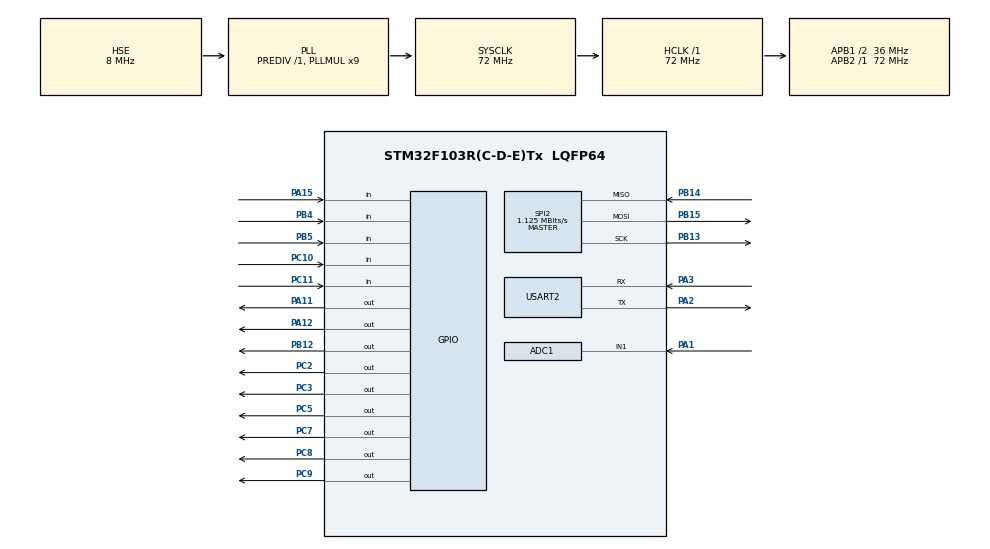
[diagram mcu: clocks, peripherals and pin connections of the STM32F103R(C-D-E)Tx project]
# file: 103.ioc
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ADC1.Channel-3\#ChannelRegularConversion=ADC_CHANNEL_1
ADC1.NbrOfConversionFlag=1
ADC1.Rank-3\#ChannelRegularConversion=1
ADC1.SamplingTime-3\#ChannelRegularConversion=ADC_SAMPLETIME_1CYCLE_5
ADC1.master=1
Mcu.Family=STM32F1
Mcu.Name=STM32F103R(C-D-E)Tx
Mcu.Package=LQFP64
NVIC.ADC1_2_IRQn=true\:3\:0\:true\:false\:true\:true\:true
NVIC.PriorityGroup=NVIC_PRIORITYGROUP_4
NVIC.TIM2_IRQn=true\:2\:0\:true\:false\:true\:true\:true
NVIC.TIM6_IRQn=true\:1\:0\:true\:false\:true\:true\:true
PA1.Signal=ADCx_IN1
PA10.Signal=USART1_RX
PA11.Signal=GPIO_Output
PA12.Signal=GPIO_Output
PA13.Mode=Serial_Wire
PA13.Signal=SYS_JTMS-SWDIO
PA14.Mode=Serial_Wire
PA14.Signal=SYS_JTCK-SWCLK
PA15.GPIO_PuPd=GPIO_PULLUP
PA15.Signal=GPIO_Input
PA2.Mode=Asynchronous
PA2.Signal=USART2_TX
PA3.Mode=Asynchronous
PA3.Signal=USART2_RX
PA9.Signal=USART1_TX
PB12.Signal=GPIO_Output
PB13.Mode=Full_Duplex_Master
PB13.Signal=SPI2_SCK
PB14.Mode=Full_Duplex_Master
PB14.Signal=SPI2_MISO
PB15.Mode=Full_Duplex_Master
PB15.Signal=SPI2_MOSI
PB4.Signal=GPIO_Input
PB5.Signal=GPIO_Input
PC10.GPIO_PuPd=GPIO_PULLUP
PC10.Signal=GPIO_Input
PC11.GPIO_PuPd=GPIO_PULLUP
PC11.Signal=GPIO_Input
PC2.Signal=GPIO_Output
PC3.Signal=GPIO_Output
PC5.Signal=GPIO_Output
PC7.Signal=GPIO_Output
PC8.Signal=GPIO_Output
PC9.Signal=GPIO_Output
PD0-OSC_IN.Mode=HSE-External-Oscillator
PD0-OSC_IN.Signal=RCC_OSC_IN
PD1-OSC_OUT.Mode=HSE-External-Oscillator
PD1-OSC_OUT.Signal=RCC_OSC_OUT
ProjectManager.HeapSize=0x200
ProjectManager.StackSize=0x400
ProjectManager.TargetToolchain=MDK-ARM V5.32
RCC.ADCPresc=RCC_ADCPCLK2_DIV6
RCC.AHBFreq_Value=72000000
RCC.APB1CLKDivider=RCC_HCLK_DIV2
RCC.APB1Freq_Value=36000000
RCC.APB1TimFreq_Value=72000000
RCC.APB2Freq_Value=72000000
RCC.APB2TimFreq_Value=72000000
RCC.HCLKFreq_Value=72000000
RCC.PLLMUL=RCC_PLL_MUL9
RCC.PLLSourceVirtual=RCC_PLLSOURCE_HSE
RCC.SYSCLKFreq_VALUE=72000000
RCC.SYSCLKSource=RCC_SYSCLKSOURCE_PLLCLK
RCC.USBFreq_Value=72000000
SH.ADCx_IN1.0=ADC1_IN1,IN1
SPI2.BaudRatePrescaler=SPI_BAUDRATEPRESCALER_32
SPI2.CalculateBaudRate=1.125 MBits/s
SPI2.Direction=SPI_DIRECTION_2LINES
SPI2.Mode=SPI_MODE_MASTER
SPI2.VirtualType=VM_MASTER
TIM2.AutoReloadPreload=TIM_AUTORELOAD_PRELOAD_ENABLE
TIM2.Period=999
TIM2.Prescaler=71
TIM6.AutoReloadPreload=TIM_AUTORELOAD_PRELOAD_ENABLE
TIM6.Period=31000
TIM6.Prescaler=719
TIM6.TIM_MasterOutputTrigger=TIM_TRGO_RESET
USART2.VirtualMode=VM_ASYNC
VP_TIM2_VS_ClockSourceINT.Mode=Internal
VP_TIM6_VS_ClockSourceINT.Mode=Enable_Timer
board=custom

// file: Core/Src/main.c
/* USER CODE BEGIN Header */
/**
  ******************************************************************************
  * @file           : main.c
  * @brief          : Main program body
  ******************************************************************************
  * @attention
  *
  * <h2><center>&copy; Copyright (c) 2021 STMicroelectronics.
  * All rights reserved.</center></h2>
  *
  * This software component is licensed by ST under BSD 3-Clause license,
  * the "License"; You may not use this file except in compliance with the
  * License. You may obtain a copy of the License at:
  *                        opensource.org/licenses/BSD-3-Clause
  *
  ******************************************************************************
  */
/* USER CODE END Header */
#include "main.h"
#include "adc.h"
#include "spi.h"
#include "tim.h"
#include "usart.h"
#include "gpio.h"

/* USER CODE BEGIN Includes */
#include <stdio.h>
#include "App_Test.h"
#include "Button.h"
#include "User_Uart.h"
#include "init.h"
#include "ppp.h"
#include "dns.h"
#include "app_debug.h"
#include "gsm.h"

#include "mqtt_client.h"
//#include "app_http.h"
/* USER CODE END Includes */

/* USER CODE BEGIN PV */
uint8_t *rebuff1;
int16_t remain1;
uint8_t *rebuff2;
int16_t remain2;
/* USER CODE END PV */

void SystemClock_Config(void);
/* USER CODE BEGIN PFP */

void Toggle()
{
	HAL_GPIO_TogglePin(GPIOC, GPIO_PIN_9);
	 //User_Uart_AsyncTransmit(USER_UART_CHANNEL_USART1, "ATV1\r\n", strlen("ATV1\r\n"));
	//printf("HelloTue");

}

static void dns_initialize(void)
{
    ip_addr_t dns_server_0 = IPADDR4_INIT_BYTES(8, 8, 8, 8);
    ip_addr_t dns_server_1 = IPADDR4_INIT_BYTES(1, 1, 1, 1);
    dns_setserver(0, &dns_server_0);
    dns_setserver(1, &dns_server_1);
    dns_init();
}

/* USER CODE END PFP */

/* USER CODE BEGIN 0 */

//static int count = 0;
int __io_putchar(int ch)
{
	HAL_UART_Transmit(&huart2, (uint8_t *)&ch, 1, 100);
	return ch;
}

/* USER CODE END 0 */

int main(void)
{

  /* MCU Configuration--------------------------------------------------------*/

  /* Reset of all peripherals, Initializes the Flash interface and the Systick. */
  HAL_Init();

  /* Configure the system clock */
  SystemClock_Config();

  /* Initialize all configured peripherals */
  MX_GPIO_Init();
  MX_SPI2_Init();
  MX_TIM2_Init();
  MX_ADC1_Init();
  MX_TIM6_Init();
  MX_USART2_UART_Init();
  /* USER CODE BEGIN 2 */
  //printf("Ao that day");
  //User_Uart_Init(&User_Uart_ConfigPtr);
 // HAL_TIM_Base_Start_IT(&htim2);
  Button btn1;
  button_init(&btn1, GPIOC, GPIO_PIN_10, BUTTON_ACTIVE_LOW, 1);
  Button_ResetEvent(1);
  Button_AddEvent(1, BUTTON_PRESSED_EVENT, Toggle);

  dns_initialize();
  lwip_init();
  gsm_init_hw();
  mqtt_client_cfg_t test_client =
  {
		  .broker_addr = "broker.hivemq.com",
		  .client_id = "Tue's LWIP Porting",
		  .password = NULL,
		  .periodic_sub_req_s = 120,
		  //.user_name = NULL,
		  .port = 1883
  };
  mqtt_client_initialize(&test_client);
  /* USER CODE END 2 */

  /* Infinite loop */
  /* USER CODE BEGIN WHILE */
  //int count = 0;
  while (1)
  {
	  //printf("Number: %d\n",count++);
	  gsm_mnr_task(NULL);
	  mqtt_client_polling_task(NULL);
	  //int count = 0;
	  //HAL_UART_Transmit(&huart2, "Hello\n", 7, 1000);
	  //printf("Count: %d\n",count++);
	  //HAL_Delay(500);
	  button_check(&btn1);
    /* USER CODE END WHILE */

  }
}

void SystemClock_Config(void)
{
  RCC_OscInitTypeDef RCC_OscInitStruct = {0};
  RCC_ClkInitTypeDef RCC_ClkInitStruct = {0};
  RCC_PeriphCLKInitTypeDef PeriphClkInit = {0};

  /** Initializes the RCC Oscillators according to the specified parameters
  * in the RCC_OscInitTypeDef structure.
  */
  RCC_OscInitStruct.OscillatorType = RCC_OSCILLATORTYPE_HSE;
  RCC_OscInitStruct.HSEState = RCC_HSE_ON;
  RCC_OscInitStruct.HSEPredivValue = RCC_HSE_PREDIV_DIV1;
  RCC_OscInitStruct.HSIState = RCC_HSI_ON;
  RCC_OscInitStruct.PLL.PLLState = RCC_PLL_ON;
  RCC_OscInitStruct.PLL.PLLSource = RCC_PLLSOURCE_HSE;
  RCC_OscInitStruct.PLL.PLLMUL = RCC_PLL_MUL9;
  if (HAL_RCC_OscConfig(&RCC_OscInitStruct) != HAL_OK)
  {
    Error_Handler();
  }
  /** Initializes the CPU, AHB and APB buses clocks
  */
  RCC_ClkInitStruct.ClockType = RCC_CLOCKTYPE_HCLK|RCC_CLOCKTYPE_SYSCLK
                              |RCC_CLOCKTYPE_PCLK1|RCC_CLOCKTYPE_PCLK2;
  RCC_ClkInitStruct.SYSCLKSource = RCC_SYSCLKSOURCE_PLLCLK;
  RCC_ClkInitStruct.AHBCLKDivider = RCC_SYSCLK_DIV1;
  RCC_ClkInitStruct.APB1CLKDivider = RCC_HCLK_DIV2;
  RCC_ClkInitStruct.APB2CLKDivider = RCC_HCLK_DIV1;

  if (HAL_RCC_ClockConfig(&RCC_ClkInitStruct, FLASH_LATENCY_2) != HAL_OK)
  {
    Error_Handler();
  }
  PeriphClkInit.PeriphClockSelection = RCC_PERIPHCLK_ADC;
  PeriphClkInit.AdcClockSelection = RCC_ADCPCLK2_DIV6;
  if (HAL_RCCEx_PeriphCLKConfig(&PeriphClkInit) != HAL_OK)
  {
    Error_Handler();
  }
}

void Error_Handler(void)
{
  __disable_irq();
  while (1)
  {
  }
}

/************************ (C) COPYRIGHT STMicroelectronics *****END OF FILE****/
